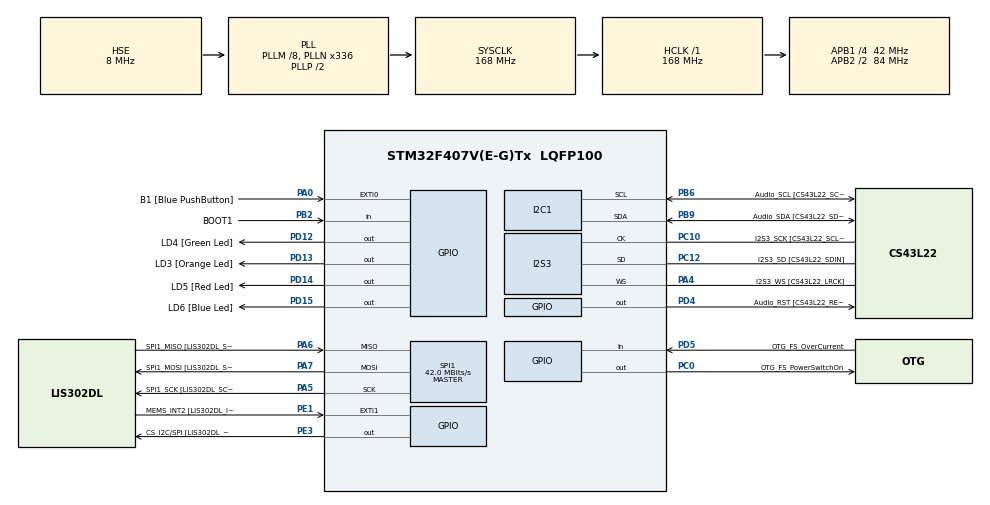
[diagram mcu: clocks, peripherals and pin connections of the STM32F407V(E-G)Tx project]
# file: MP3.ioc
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I2S3.ErrorAudioFreq=0.0 %
I2S3.FullDuplexMode=I2S_FULLDUPLEXMODE_DISABLE
I2S3.Instance=SPI$Index
I2S3.MCLKOutput=I2S_MCLKOUTPUT_ENABLE
I2S3.RealAudioFreq=48.0 KHz
I2S3.VirtualMode=I2S_MODE_MASTER
Mcu.Family=STM32F4
Mcu.Name=STM32F407V(E-G)Tx
Mcu.Package=LQFP100
NVIC.PriorityGroup=NVIC_PRIORITYGROUP_0
PA0-WKUP.GPIO_Label=B1 [Blue PushButton]
PA0-WKUP.GPIO_ModeDefaultEXTI=GPIO_MODE_EVT_RISING
PA0-WKUP.GPIO_PuPd=GPIO_NOPULL
PA0-WKUP.Signal=GPXTI0
PA10.GPIO_Label=OTG_FS_ID
PA10.GPIO_Mode=GPIO_MODE_AF_PP
PA10.GPIO_PuPd=GPIO_NOPULL
PA10.GPIO_Speed=GPIO_SPEED_FREQ_LOW
PA10.Signal=USB_OTG_FS_ID
PA11.GPIO_Label=OTG_FS_DM
PA11.GPIO_Mode=GPIO_MODE_AF_PP
PA11.GPIO_PuPd=GPIO_NOPULL
PA11.GPIO_Speed=GPIO_SPEED_FREQ_LOW
PA11.Signal=USB_OTG_FS_DM
PA12.GPIO_Label=OTG_FS_DP
PA12.GPIO_Mode=GPIO_MODE_AF_PP
PA12.GPIO_PuPd=GPIO_NOPULL
PA12.GPIO_Speed=GPIO_SPEED_FREQ_LOW
PA12.Signal=USB_OTG_FS_DP
PA13.GPIO_Label=SWDIO
PA13.Mode=Serial_Wire
PA13.Signal=SYS_JTMS-SWDIO
PA14.GPIO_Label=SWCLK
PA14.Mode=Serial_Wire
PA14.Signal=SYS_JTCK-SWCLK
PA4.GPIO_Label=I2S3_WS [CS43L22_LRCK]
PA4.GPIO_Mode=GPIO_MODE_AF_PP
PA4.GPIO_PuPd=GPIO_NOPULL
PA4.GPIO_Speed=GPIO_SPEED_FREQ_LOW
PA4.Mode=Half_Duplex_Master
PA4.Signal=I2S3_WS
PA5.GPIO_Label=SPI1_SCK [LIS302DL_SCL/SPC]
PA5.GPIO_Mode=GPIO_MODE_AF_PP
PA5.GPIO_PuPd=GPIO_NOPULL
PA5.GPIO_Speed=GPIO_SPEED_FREQ_LOW
PA5.Mode=Full_Duplex_Master
PA5.Signal=SPI1_SCK
PA6.GPIO_Label=SPI1_MISO [LIS302DL_SDO]
PA6.GPIO_Mode=GPIO_MODE_AF_PP
PA6.GPIO_PuPd=GPIO_NOPULL
PA6.GPIO_Speed=GPIO_SPEED_FREQ_LOW
PA6.Mode=Full_Duplex_Master
PA6.Signal=SPI1_MISO
PA7.GPIO_Label=SPI1_MOSI [LIS302DL_SDA/SDI/SDO]
PA7.GPIO_Mode=GPIO_MODE_AF_PP
PA7.GPIO_PuPd=GPIO_NOPULL
PA7.GPIO_Speed=GPIO_SPEED_FREQ_LOW
PA7.Mode=Full_Duplex_Master
PA7.Signal=SPI1_MOSI
PA9.GPIO_Label=VBUS_FS
PA9.GPIO_Mode=GPIO_MODE_INPUT
PA9.GPIO_PuPd=GPIO_NOPULL
PA9.Signal=USB_OTG_FS_VBUS
PB10.GPIO_Label=CLK_IN [MP45DT02_CLK]
PB10.GPIO_Mode=GPIO_MODE_AF_PP
PB10.GPIO_PuPd=GPIO_NOPULL
PB10.GPIO_Speed=GPIO_SPEED_FREQ_LOW
PB10.Signal=I2S2_CK
PB2.GPIO_Label=BOOT1
PB2.GPIO_Mode=GPIO_MODE_INPUT
PB2.GPIO_PuPd=GPIO_NOPULL
PB2.Signal=GPIO_Input
PB3.GPIO_Label=SWO
PB3.Signal=SYS_JTDO-SWO
PB6.GPIO_Label=Audio_SCL [CS43L22_SCL]
PB6.GPIO_Mode=GPIO_MODE_AF_OD
PB6.GPIO_Pu=GPIO_PULLUP
PB6.GPIO_PuPd=GPIO_NOPULL
PB6.GPIO_Speed=GPIO_SPEED_FREQ_LOW
PB6.Mode=I2C
PB6.Signal=I2C1_SCL
PB9.GPIO_Label=Audio_SDA [CS43L22_SDA]
PB9.GPIO_Mode=GPIO_MODE_AF_OD
PB9.GPIO_Pu=GPIO_PULLUP
PB9.GPIO_PuPd=GPIO_NOPULL
PB9.GPIO_Speed=GPIO_SPEED_FREQ_LOW
PB9.Mode=I2C
PB9.Signal=I2C1_SDA
PC0.GPIO_Label=OTG_FS_PowerSwitchOn
PC0.GPIO_PuPd=GPIO_NOPULL
PC0.GPIO_Speed=GPIO_SPEED_FREQ_LOW
PC0.PinState=GPIO_PIN_SET
PC0.Signal=GPIO_Output
PC10.GPIO_Label=I2S3_SCK [CS43L22_SCLK]
PC10.GPIO_Mode=GPIO_MODE_AF_PP
PC10.GPIO_PuPd=GPIO_NOPULL
PC10.GPIO_Speed=GPIO_SPEED_FREQ_LOW
PC10.Mode=Half_Duplex_Master
PC10.Signal=I2S3_CK
PC12.GPIO_Label=I2S3_SD [CS43L22_SDIN]
PC12.GPIO_Mode=GPIO_MODE_AF_PP
PC12.GPIO_PuPd=GPIO_NOPULL
PC12.GPIO_Speed=GPIO_SPEED_FREQ_LOW
PC12.Mode=Half_Duplex_Master
PC12.Signal=I2S3_SD
PC14-OSC32_IN.GPIO_Label=PC14-OSC32_IN
PC14-OSC32_IN.Mode=LSE-External-Oscillator
PC14-OSC32_IN.Signal=RCC_OSC32_IN
PC15-OSC32_OUT.GPIO_Label=PC15-OSC32_OUT
PC15-OSC32_OUT.Mode=LSE-External-Oscillator
PC15-OSC32_OUT.Signal=RCC_OSC32_OUT
PC3.GPIO_Label=PDM_OUT [MP45DT02_DOUT]
PC3.GPIO_Mode=GPIO_MODE_AF_PP
PC3.GPIO_PuPd=GPIO_NOPULL
PC3.GPIO_Speed=GPIO_SPEED_FREQ_LOW
PC3.Signal=I2S2_SD
PC7.GPIO_Label=I2S3_MCK [CS43L22_MCLK]
PC7.GPIO_Mode=GPIO_MODE_AF_PP
PC7.GPIO_PuPd=GPIO_NOPULL
PC7.GPIO_Speed=GPIO_SPEED_FREQ_LOW
PC7.Signal=I2S3_MCK
PD12.GPIO_Label=LD4 [Green Led]
PD12.GPIO_PuPd=GPIO_NOPULL
PD12.GPIO_Speed=GPIO_SPEED_FREQ_LOW
PD12.Signal=GPIO_Output
PD13.GPIO_Label=LD3 [Orange Led]
PD13.GPIO_PuPd=GPIO_NOPULL
PD13.GPIO_Speed=GPIO_SPEED_FREQ_LOW
PD13.Signal=GPIO_Output
PD14.GPIO_Label=LD5 [Red Led]
PD14.GPIO_PuPd=GPIO_NOPULL
PD14.GPIO_Speed=GPIO_SPEED_FREQ_LOW
PD14.Signal=GPIO_Output
PD15.GPIO_Label=LD6 [Blue Led]
PD15.GPIO_PuPd=GPIO_NOPULL
PD15.GPIO_Speed=GPIO_SPEED_FREQ_LOW
PD15.Signal=GPIO_Output
PD4.GPIO_Label=Audio_RST [CS43L22_RESET]
PD4.GPIO_PuPd=GPIO_NOPULL
PD4.GPIO_Speed=GPIO_SPEED_FREQ_LOW
PD4.Signal=GPIO_Output
PD5.GPIO_Label=OTG_FS_OverCurrent
PD5.GPIO_Mode=GPIO_MODE_INPUT
PD5.GPIO_PuPd=GPIO_NOPULL
PD5.Signal=GPIO_Input
PE1.GPIO_Label=MEMS_INT2 [LIS302DL_INT2]
PE1.GPIO_ModeDefaultEXTI=GPIO_MODE_EVT_RISING
PE1.GPIO_PuPd=GPIO_NOPULL
PE1.Signal=GPXTI1
PE3.GPIO_Label=CS_I2C/SPI [LIS302DL_CS_I2C/SPI]
PE3.GPIO_PuPd=GPIO_NOPULL
PE3.GPIO_Speed=GPIO_SPEED_FREQ_LOW
PE3.Signal=GPIO_Output
PH0-OSC_IN.GPIO_Label=PH0-OSC_IN
PH0-OSC_IN.Mode=HSE-External-Oscillator
PH0-OSC_IN.Signal=RCC_OSC_IN
PH1-OSC_OUT.GPIO_Label=PH1-OSC_OUT
PH1-OSC_OUT.Mode=HSE-External-Oscillator
PH1-OSC_OUT.Signal=RCC_OSC_OUT
ProjectManager.HeapSize=0x200
ProjectManager.StackSize=0x400
ProjectManager.TargetToolchain=STM32CubeIDE
RCC.48MHZClocksFreq_Value=48000000
RCC.AHBFreq_Value=168000000
RCC.APB1CLKDivider=RCC_HCLK_DIV4
RCC.APB1Freq_Value=42000000
RCC.APB1TimFreq_Value=84000000
RCC.APB2CLKDivider=RCC_HCLK_DIV2
RCC.APB2Freq_Value=84000000
RCC.APB2TimFreq_Value=168000000
RCC.CortexFreq_Value=168000000
RCC.HCLKFreq_Value=168000000
RCC.HSE_VALUE=8000000
RCC.HSI_VALUE=16000000
RCC.PLLM=8
RCC.PLLN=336
RCC.PLLQ=7
RCC.PLLSourceVirtual=RCC_PLLSOURCE_HSE
RCC.SYSCLKFreq_VALUE=168000000
RCC.SYSCLKSource=RCC_SYSCLKSOURCE_PLLCLK
RCC.VCOOutputFreq_Value=336000000
SPI1.BaudRatePrescaler-Full_Duplex_Master=SPI_BAUDRATEPRESCALER_2
SPI1.CalculateBaudRate=42.0 MBits/s
SPI1.CalculateBaudRate-Full_Duplex_Master=42.0 MBits/s
SPI1.Direction=SPI_DIRECTION_2LINES
SPI1.Mode=SPI_MODE_MASTER
SPI1.Mode-Full_Duplex_Master=SPI_MODE_MASTER
SPI1.VirtualType=VM_MASTER
board=STM32F407G-DISC1

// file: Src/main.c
/* USER CODE BEGIN Header */
/**
  ******************************************************************************
  * @file           : main.c
  * @brief          : Main program body
  ******************************************************************************
  * @attention
  *
  * Copyright (c) 2026 STMicroelectronics.
  * All rights reserved.
  *
  * This software is licensed under terms that can be found in the LICENSE file
  * in the root directory of this software component.
  * If no LICENSE file comes with this software, it is provided AS-IS.
  *
  ******************************************************************************
  */
/* USER CODE END Header */
#include "main.h"
#include "i2c.h"
#include "i2s.h"
#include "spi.h"
#include "gpio.h"

/* USER CODE BEGIN Includes */
#include "cs43l22.h"
#include "mp3_data.h"
#include "mp3_player.h"
#include "wav_player.h"
/* USER CODE END Includes */

/* USER CODE BEGIN PV */
extern const WAV_EmbeddedClip *WAV_Data_GetEmbeddedClip(void);
void WAV_Data_Init(void);
static MP3_PlayerContext g_mp3PlayerContext;
/* USER CODE END PV */

void SystemClock_Config(void);

/* USER CODE BEGIN 0 */
/* Embedded audio clip is produced in `Src/wav_data.c` and streamed by `wav_player.c`. */
static void Audio_StartPreferredClip(const WAV_EmbeddedClip *embeddedClip)
{
  if ((embeddedClip != NULL) && MP3_Player_IsReady(&g_mp3PlayerContext))
  {
    if (MP3_Player_StartDMA(&g_mp3PlayerContext) == 0)
    {
      return;
    }
  }

  if (embeddedClip != NULL)
  {
    (void)WAV_Player_StartClipDMA(embeddedClip);
  }
}
/* USER CODE END 0 */

int main(void)
{

  /* MCU Configuration--------------------------------------------------------*/

  /* Reset of all peripherals, Initializes the Flash interface and the Systick. */
  HAL_Init();

  /* Configure the system clock */
  SystemClock_Config();

  /* Initialize all configured peripherals */
  MX_GPIO_Init();
  MX_I2C1_Init();
  MX_I2S3_Init();
  MX_SPI1_Init();
  /* USER CODE BEGIN 2 */
  CS43L22_Init();
  CS43L22_Start();
  CS43L22_SetVolume(0xD0);

  WAV_Data_Init();
  const WAV_EmbeddedClip *embeddedClip = WAV_Data_GetEmbeddedClip();

  MP3_Player_InitFromMemory(&g_mp3PlayerContext,
                            MP3_Data_GetStubBytes(),
                            MP3_Data_GetStubSize());

  Audio_StartPreferredClip(embeddedClip);
  /* USER CODE END 2 */

  /* Infinite loop */
  /* USER CODE BEGIN WHILE */
  while (1)
  {
    WAV_Player_Process();
    if (!WAV_Player_IsBusy())
    {
      Audio_StartPreferredClip(WAV_Data_GetEmbeddedClip());
    }
    HAL_Delay(1);
  }
    /* USER CODE END WHILE */

}

void SystemClock_Config(void)
{
  RCC_OscInitTypeDef RCC_OscInitStruct = {0};
  RCC_ClkInitTypeDef RCC_ClkInitStruct = {0};

  /** Configure the main internal regulator output voltage
  */
  __HAL_RCC_PWR_CLK_ENABLE();
  __HAL_PWR_VOLTAGESCALING_CONFIG(PWR_REGULATOR_VOLTAGE_SCALE1);

  /** Initializes the RCC Oscillators according to the specified parameters
  * in the RCC_OscInitTypeDef structure.
  */
  RCC_OscInitStruct.OscillatorType = RCC_OSCILLATORTYPE_HSE;
  RCC_OscInitStruct.HSEState = RCC_HSE_ON;
  RCC_OscInitStruct.PLL.PLLState = RCC_PLL_ON;
  RCC_OscInitStruct.PLL.PLLSource = RCC_PLLSOURCE_HSE;
  RCC_OscInitStruct.PLL.PLLM = 8;
  RCC_OscInitStruct.PLL.PLLN = 336;
  RCC_OscInitStruct.PLL.PLLP = RCC_PLLP_DIV2;
  RCC_OscInitStruct.PLL.PLLQ = 7;
  if (HAL_RCC_OscConfig(&RCC_OscInitStruct) != HAL_OK)
  {
    Error_Handler();
  }

  /** Initializes the CPU, AHB and APB buses clocks
  */
  RCC_ClkInitStruct.ClockType = RCC_CLOCKTYPE_HCLK|RCC_CLOCKTYPE_SYSCLK
                              |RCC_CLOCKTYPE_PCLK1|RCC_CLOCKTYPE_PCLK2;
  RCC_ClkInitStruct.SYSCLKSource = RCC_SYSCLKSOURCE_PLLCLK;
  RCC_ClkInitStruct.AHBCLKDivider = RCC_SYSCLK_DIV1;
  RCC_ClkInitStruct.APB1CLKDivider = RCC_HCLK_DIV4;
  RCC_ClkInitStruct.APB2CLKDivider = RCC_HCLK_DIV2;

  if (HAL_RCC_ClockConfig(&RCC_ClkInitStruct, FLASH_LATENCY_5) != HAL_OK)
  {
    Error_Handler();
  }
}

void Error_Handler(void)
{
  __disable_irq();
  while (1)
  {
  }
}
